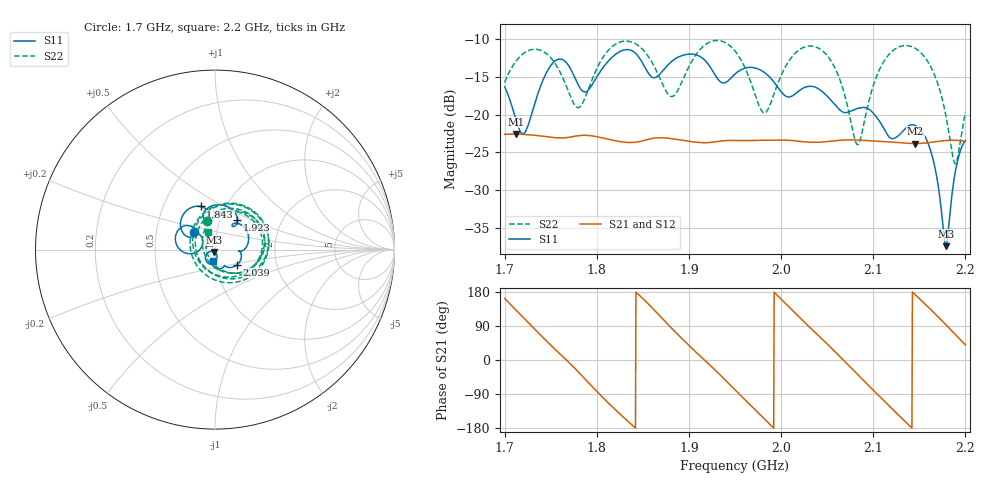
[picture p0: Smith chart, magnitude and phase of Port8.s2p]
# Hz S RI R 50
! CMT, CMT808U, 21440046, 21.4.3/4
! Date: 4/9/2026 1:46:40 AM
! Data: Format (Calibration Info)
! Freq	S11:Re/Im(F2)	S41:Re/Im(F2)	S14:Re/Im(F2)	S44:Re/Im(F2)
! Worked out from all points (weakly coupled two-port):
!   1001 points, 1.7 GHz to 2.2 GHz, reference 50 ohm
!   highest |S21| = -22.59 dB at 1.712 GHz (marker M1); lowest = -23.8 dB at 2.146 GHz (marker M2)
!   lowest |S11| = -37.5 dB at 2.179 GHz (marker M3), VSWR 1.03, Z = 49.5 - j1.23 ohm
!   |S11| at or under -10 dB: start of sweep to end of sweep
!   |S22| runs from -26.5 to -10.2 dB; largest |S21 - S12| = 0.001
!   S11 on the Smith chart (normalised r, x): 1.7 GHz: 0.78, +0.15; 1.843 GHz: 0.76, +0.39; 1.923 GHz: 1.21, +0.42; 2.039 GHz: 1.26, -0.22; 2.2 GHz: 0.97, -0.13
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1.7e9  -0.118 0.0969  -0.0704 0.0225  -0.0704 0.0215  -0.0437 0.1571
1.712e9  -0.0707 0.0618  -0.0502 0.0547  -0.0507 0.0538  0.0683 0.2138
1.7225e9  -0.076 0.0118  -0.0208 0.0708  -0.0216 0.0702  0.1775 0.1888
1.757e9  -0.2205 0.0693  0.0644 0.0274  0.0638 0.0281  0.1582 -0.1342
1.7835e9  -0.1105 0.0943  0.0554 -0.0471  0.0558 -0.0462  -0.1149 -0.0132
1.813e9  -0.1911 0.1239  -0.0283 -0.0624  -0.0274 -0.0625  0.0884 0.2535
1.8425e9  -0.0797 0.2403  -0.0655 0.00106  -0.0653 0.000253  0.2931 -0.018
1.867e9  -0.0585 0.172  -0.0349 0.0608  -0.0356 0.0601  0.0327 -0.1793
1.891e9  -0.0164 0.2437  0.034 0.0587  0.0331 0.0589  -0.1336 0.0845
1.923e9  0.125 0.1649  0.0634 -0.0157  0.0634 -0.0148  0.2132 0.2156
1.95e9  0.1129 0.1473  0.0131 -0.066  0.014 -0.0657  0.247 -0.0928
1.982e9  0.1855 0.0412  -0.0615 -0.0279  -0.0609 -0.0287  -0.0958 -0.0362
2.009e9  0.1306 -0.00672  -0.0507 0.0446  -0.0512 0.0437  0.0416 0.2253
2.0335e9  0.1389 -0.066  0.0107 0.0645  0.00974 0.0646  0.2651 0.1026
2.039e9  0.1243 -0.0838  0.0245 0.0606  0.0236 0.0609  0.275 0.0435
2.083e9  0.043 -0.101  0.0532 -0.0419  0.0537 -0.0411  -0.0585 -0.0237
2.117e9  -0.0119 -0.0702  -0.0333 -0.0568  -0.0325 -0.0572  0.1277 0.215
2.1455e9  -0.0386 -0.0752  -0.0637 0.00834  -0.0637 0.00739  0.2749 0.00476
2.164e9  -0.0468 -0.025  -0.0417 0.0506  -0.0424 0.05  0.1542 -0.1248
2.179e9  -0.00492 -0.0125  -0.00319 0.0672  -0.00419 0.0671  0.0101 -0.0964
2.189e9  0.0115 -0.0399  0.0259 0.0623  0.0249 0.0627  -0.0454 -0.0129
2.2e9  -0.0124 -0.066  0.0511 0.0425  0.0504 0.0432  -0.0366 0.0965
